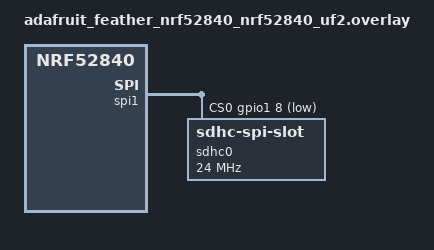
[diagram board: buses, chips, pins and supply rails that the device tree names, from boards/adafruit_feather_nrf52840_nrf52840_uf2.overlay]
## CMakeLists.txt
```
# SPDX-License-Identifier: Apache-2.0

cmake_minimum_required(VERSION 3.20.0)
find_package(Zephyr REQUIRED HINTS $ENV{ZEPHYR_BASE})
project(sd_test)

target_sources(app PRIVATE src/main.c)
```

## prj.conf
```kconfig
# Bisection step 2: shell + SD card only. Still no Bluetooth, no VS1053.
CONFIG_SHELL=y
CONFIG_SHELL_BACKEND_SERIAL=y

CONFIG_SPI=y
CONFIG_DISK_ACCESS=y
CONFIG_FILE_SYSTEM=y
CONFIG_FAT_FILESYSTEM_ELM=y

# Default main stack (1024B) and heap (0B) are too small for FAT +
# SD-over-SPI mounting; this was almost certainly a stack overflow.
CONFIG_MAIN_STACK_SIZE=4096
CONFIG_HEAP_MEM_POOL_SIZE=4096

# So a stack overflow shows up as a clear fault message instead of a
# silent crash/reset, if this happens again.
CONFIG_HW_STACK_PROTECTION=y
```

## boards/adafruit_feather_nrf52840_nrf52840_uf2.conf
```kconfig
# Same fix as blinky/shell_test/MeshyQ: without this, Zephyr ignores the
# board's devicetree partition layout and links the app at address 0,
# which overlaps the Adafruit bootloader and bricks the board.
CONFIG_USE_DT_CODE_PARTITION=y
```

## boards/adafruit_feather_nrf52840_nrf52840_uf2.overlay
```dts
/*
 * SD card only (Music Maker FeatherWing's microSD slot). VS1053 is
 * deliberately left out of this test.
 *
 * SD card CS -> D5 (P1.08)
 */

&spi1 {
	status = "okay";
	cs-gpios = <&gpio1 8 GPIO_ACTIVE_LOW>;

	sdhc0: sdhc@0 {
		compatible = "zephyr,sdhc-spi-slot";
		reg = <0>;
		status = "okay";
		spi-max-frequency = <24000000>;

		mmc {
			compatible = "zephyr,sdmmc-disk";
			disk-name = "SD";
			status = "okay";
		};
	};
};
```

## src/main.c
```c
/*
 * Bisection step 2: mount the SD card and list its root directory from
 * the shell. Still no Bluetooth, no VS1053 — isolating the SPI/SD/FAT
 * filesystem path on its own.
 */
#include <zephyr/fs/fs.h>
#include <zephyr/kernel.h>
#include <zephyr/logging/log.h>
#include <zephyr/shell/shell.h>

#include <ff.h>

LOG_MODULE_REGISTER(sd_test, CONFIG_LOG_DEFAULT_LEVEL);

#define SD_MOUNT_POINT "/SD:"

static FATFS fat_fs;
static struct fs_mount_t mp = {
	.type = FS_FATFS,
	.fs_data = &fat_fs,
	.mnt_point = SD_MOUNT_POINT,
};
static bool sd_mounted;

static int cmd_ls(const struct shell *shell, size_t argc, char *argv[])
{
	struct fs_dir_t dir;
	int err;

	if (!sd_mounted) {
		shell_error(shell, "SD card not mounted");
		return -ENODEV;
	}

	fs_dir_t_init(&dir);

	err = fs_opendir(&dir, SD_MOUNT_POINT);
	if (err) {
		shell_error(shell, "Failed to open %s: %d", SD_MOUNT_POINT, err);
		return err;
	}

	while (1) {
		struct fs_dirent entry;

		err = fs_readdir(&dir, &entry);
		if (err) {
			shell_error(shell, "Read error: %d", err);
			break;
		}

		if (entry.name[0] == '\0') {
			break;
		}

		if (entry.type == FS_DIR_ENTRY_DIR) {
			shell_print(shell, "%s/", entry.name);
		} else {
			shell_print(shell, "%-32s %u", entry.name, entry.size);
		}
	}

	fs_closedir(&dir);
	return 0;
}

SHELL_CMD_ARG_REGISTER(ls, NULL, "List the SD card's root directory", cmd_ls, 1, 0);

int main(void)
{
	int err;

	err = fs_mount(&mp);
	if (err) {
		LOG_ERR("Failed to mount SD card: %d", err);
		printk("SD card mount failed (err %d)\n", err);
		return 0;
	}

	sd_mounted = true;
	printk("SD card mounted at %s\n", SD_MOUNT_POINT);
	return 0;
}
```
